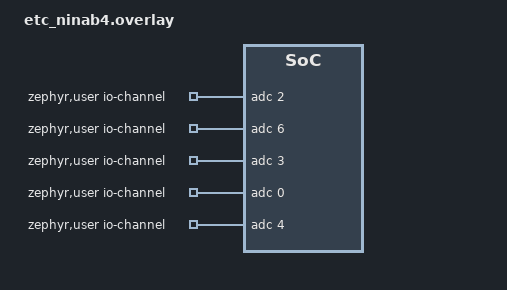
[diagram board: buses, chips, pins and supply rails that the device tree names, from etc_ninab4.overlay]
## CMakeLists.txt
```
cmake_minimum_required(VERSION 3.13.1)

set(CONFIG_APPLICATION_DEFINED_SYSCALL true)

find_package(Zephyr REQUIRED HINTS $ENV{ZEPHYR_BASE})

project(etc_core)

target_sources(app PRIVATE src/main.c)
zephyr_cc_option(-Wfatal-errors)

add_subdirectory(src/app)
include_directories(
  src/app
)
```

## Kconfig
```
menu "EXACT Core 2.0 Application"

config APP_VERSION
	string "Application version"
	default "v1.0.0"


config PUBLICATION_INTERVAL_SECONDS
	int "Interval in seconds that the sample will publish data"
	default 60

config CONNECTION_RETRY_TIMEOUT_SECONDS
	int "Number of seconds between each AWS IoT connection retry"
	default 30

endmenu

menu "Zephyr Kernel"
source "$ZEPHYR_BASE/Kconfig.zephyr"
endmenu

module = ETC_APP
module-str = ETC App
source "${ZEPHYR_BASE}/subsys/logging/Kconfig.template.log_config"
```

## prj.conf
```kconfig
# General config
CONFIG_APP_VERSION="v1.0.0"
CONFIG_NEWLIB_LIBC=y
CONFIG_NEWLIB_LIBC_FLOAT_PRINTF=y
CONFIG_ASSERT=y
CONFIG_REBOOT=y
CONFIG_RESET_ON_FATAL_ERROR=n
CONFIG_FPU=y
CONFIG_FW_INFO=y

# Network
CONFIG_NETWORKING=y
CONFIG_NET_NATIVE=n
CONFIG_NET_IPV4=y
CONFIG_NET_IPV6=n
CONFIG_NET_SOCKETS_SOCKOPT_TLS=y
CONFIG_NRF_MODEM_LIB=n

CONFIG_MODEM=y
CONFIG_MODEM_SIM_NUMBERS=y
CONFIG_MODEM_QUECTEL_BG95_M3=y
CONFIG_MODEM_LOG_LEVEL_DBG=y
CONFIG_DNS_RESOLVER=y
CONFIG_MODEM_CONTEXT_VERBOSE_DEBUG=y
CONFIG_MODEM_QUECTEL_BG95_M3_APN="v-internet"

CONFIG_LOG=y
CONFIG_ETC_APP_LOG_LEVEL_DBG=y
CONFIG_LOG_STRDUP_BUF_COUNT=4
CONFIG_LOG_STRDUP_MAX_STRING=32
CONFIG_AWS_FOTA_LOG_LEVEL_DBG=y
CONFIG_AWS_JOBS_LOG_LEVEL_DBG=y
CONFIG_AWS_IOT_LOG_LEVEL_DBG=y
CONFIG_DOWNLOAD_CLIENT_LOG_LEVEL_DBG=y
CONFIG_FOTA_DOWNLOAD_LOG_LEVEL_DBG=y
CONFIG_LOG_BUFFER_SIZE=4096
CONFIG_MQTT_LOG_LEVEL_DBG=n
CONFIG_NET_LOG=y

# Heap and stacks
CONFIG_HW_STACK_PROTECTION=y

# Settings, needed for Azure Device Provisioning Service
CONFIG_FLASH=y
CONFIG_FLASH_MAP=y
CONFIG_FCB=y
CONFIG_MPU_ALLOW_FLASH_WRITE=y

# AWS IoT library
CONFIG_AWS_IOT=y
CONFIG_AWS_IOT_CLIENT_ID_STATIC="ETC_Things"
CONFIG_AWS_IOT_BROKER_HOST_NAME="a2qrvfw4ehr8y1-ats.iot.ap-southeast-1.amazonaws.com"
CONFIG_AWS_IOT_PORT=8883
CONFIG_AWS_IOT_SEC_TAG=201
CONFIG_AWS_IOT_APP_SUBSCRIPTION_LIST_COUNT=1
CONFIG_AWS_IOT_TOPIC_UPDATE_DELTA_SUBSCRIBE=n
CONFIG_AWS_IOT_LAST_WILL=n
CONFIG_AWS_IOT_TOPIC_GET_ACCEPTED_SUBSCRIBE=n
CONFIG_AWS_IOT_TOPIC_GET_REJECTED_SUBSCRIBE=n
CONFIG_AWS_IOT_MQTT_RX_TX_BUFFER_LEN=2048
CONFIG_AWS_IOT_MQTT_PAYLOAD_BUFFER_LEN=2048
CONFIG_AWS_IOT_CONNECTION_POLL_THREAD=y

# MQTT - Maximum MQTT keepalive timeout specified by AWS IoT Core
CONFIG_MQTT_KEEPALIVE=60
CONFIG_MQTT_CLEAN_SESSION=y

# Heap and stacks
CONFIG_HEAP_MEM_POOL_SIZE=4096
CONFIG_MAIN_STACK_SIZE=4096
CONFIG_SYSTEM_WORKQUEUE_STACK_SIZE=2048

# AWS FOTA
CONFIG_AWS_FOTA=y

# MCUBOOT
CONFIG_BOOTLOADER_MCUBOOT=y
CONFIG_IMG_MANAGER=y
CONFIG_MCUBOOT_IMG_MANAGER=y
CONFIG_IMG_ERASE_PROGRESSIVELY=y

# Settings - Used to store real-time device configuration to flash.
CONFIG_SETTINGS=y
CONFIG_SETTINGS_FCB=y
CONFIG_FCB=y

# Non-volatile Storage
CONFIG_NVS=y

# FOTA
CONFIG_FOTA_DOWNLOAD=y
CONFIG_DFU_TARGET=y
CONFIG_DFU_TARGET_MCUBOOT=y
CONFIG_DFU_TARGET_STREAM_SAVE_PROGRESS=y

# Download client
CONFIG_DOWNLOAD_CLIENT=y
CONFIG_DOWNLOAD_CLIENT_STACK_SIZE=2048
CONFIG_DOWNLOAD_CLIENT_HTTP_FRAG_SIZE_1024=y
CONFIG_DOWNLOAD_CLIENT_BUF_SIZE=1024
CONFIG_DOWNLOAD_CLIENT_LOG_LEVEL_DBG=y
CONFIG_DOWNLOAD_CLIENT_TCP_SOCK_TIMEO_MS=60000

# Flash Settings
CONFIG_FLASH=y
CONFIG_FLASH_PAGE_LAYOUT=y
CONFIG_SOC_FLASH_NRF_UICR=y
CONFIG_FLASH_MAP=y
CONFIG_MPU_ALLOW_FLASH_WRITE=y
CONFIG_STREAM_FLASH_LOG_LEVEL_DBG=y
CONFIG_FLASH_JESD216_API=y
CONFIG_SPI=y
CONFIG_SPI_NOR=y


# CJSON
CONFIG_CJSON_LIB=y

CONFIG_ADC=y
CONFIG_ADC_MODULES_SAMPLE_RATE_MSEC=30000
CONFIG_ADC_MODULES=y
CONFIG_BQ24195=y
CONFIG_PCF85263=y
CONFIG_DS18B20=y
# GUI over LED
CONFIG_UI_MODULE=y
CONFIG_UI_LED_USE_PWM=y
CONFIG_UI_LOG_LEVEL_DBG=y

# CONFIG_USB_DEVICE_STACK=y
# CONFIG_USB_DEVICE_PRODUCT="ETC USB Shell"
# CONFIG_SHELL_BACKEND_SERIAL_CHECK_DTR=y
# CONFIG_UART_LINE_CTRL=y

# bluetooth
CONFIG_BT=y
CONFIG_BT_CTLR=y

CONFIG_I2C=y
CONFIG_I2C_1=y
CONFIG_I2C_INIT_PRIORITY=60
CONFIG_SENSOR=y
CONFIG_SENSOR_INIT_PRIORITY=90
```

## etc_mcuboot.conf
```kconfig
CONFIG_BOOT_SIGNATURE_TYPE_RSA=y
CONFIG_BOOT_SIGNATURE_KEY_FILE="root-rsa-2048.pem"
CONFIG_MCUBOOT_LOG_LEVEL_DBG=y

CONFIG_MULTITHREADING=y
CONFIG_BOOT_MAX_IMG_SECTORS=512

CONFIG_FLASH=y
CONFIG_FLASH_JESD216_API=y
CONFIG_SPI=y
CONFIG_SPI_NOR=y
CONFIG_SPI_NOR_FLASH_LAYOUT_PAGE_SIZE=4096

CONFIG_PARTITION_MANAGER_ENABLED=y
CONFIG_FLASH_MAP_CUSTOM=y

CONFIG_PM_EXTERNAL_FLASH_MCUBOOT_SECONDARY=y
CONFIG_PM_PARTITION_SIZE_MCUBOOT=0x10000
```

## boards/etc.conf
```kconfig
# Network
CONFIG_NETWORKING=y
CONFIG_NET_NATIVE=n
CONFIG_NET_IPV4=y
CONFIG_NET_IPV6=n

CONFIG_MODEM=y
CONFIG_MODEM_QUECTEL_BG95_M3=y
CONFIG_MODEM_LOG_LEVEL_DBG=y
CONFIG_MODEM_CONTEXT_VERBOSE_DEBUG=y
CONFIG_MODEM_QUECTEL_BG95_M3_APN="v-internet"

CONFIG_LOG=y
CONFIG_ETC_APP_LOG_LEVEL_DBG=y
CONFIG_AWS_FOTA_LOG_LEVEL_DBG=y
CONFIG_AWS_JOBS_LOG_LEVEL_DBG=y
CONFIG_AWS_IOT_LOG_LEVEL_DBG=y
CONFIG_DOWNLOAD_CLIENT_LOG_LEVEL_DBG=y
CONFIG_FOTA_DOWNLOAD_LOG_LEVEL_DBG=y
CONFIG_LOG_BUFFER_SIZE=4096
CONFIG_MQTT_LOG_LEVEL_DBG=n
CONFIG_NET_LOG=y

# AWS IoT library
CONFIG_AWS_IOT=y
CONFIG_AWS_IOT_CLIENT_ID_STATIC="ETC_Things"
CONFIG_AWS_IOT_BROKER_HOST_NAME="a2qrvfw4ehr8y1-ats.iot.ap-southeast-1.amazonaws.com"
CONFIG_AWS_IOT_PORT=8883
CONFIG_AWS_IOT_SEC_TAG=201
CONFIG_AWS_IOT_APP_SUBSCRIPTION_LIST_COUNT=1
CONFIG_AWS_IOT_TOPIC_UPDATE_DELTA_SUBSCRIBE=n
CONFIG_AWS_IOT_LAST_WILL=n
CONFIG_AWS_IOT_TOPIC_GET_ACCEPTED_SUBSCRIBE=n
CONFIG_AWS_IOT_TOPIC_GET_REJECTED_SUBSCRIBE=n
CONFIG_AWS_IOT_MQTT_RX_TX_BUFFER_LEN=2048
CONFIG_AWS_IOT_MQTT_PAYLOAD_BUFFER_LEN=2048
CONFIG_AWS_IOT_CONNECTION_POLL_THREAD=y

# MQTT - Maximum MQTT keepalive timeout specified by AWS IoT Core
CONFIG_MQTT_KEEPALIVE=60
CONFIG_MQTT_CLEAN_SESSION=y

# Heap and stacks
CONFIG_HEAP_MEM_POOL_SIZE=4096
CONFIG_MAIN_STACK_SIZE=4096
CONFIG_SYSTEM_WORKQUEUE_STACK_SIZE=2048

# AWS FOTA
CONFIG_AWS_FOTA=y

# MCUBOOT
CONFIG_BOOTLOADER_MCUBOOT=y
CONFIG_IMG_MANAGER=y
CONFIG_MCUBOOT_IMG_MANAGER=y
CONFIG_IMG_ERASE_PROGRESSIVELY=y

# Settings - Used to store real-time device configuration to flash.
CONFIG_SETTINGS=y
CONFIG_SETTINGS_FCB=y
CONFIG_FCB=y

# Non-volatile Storage
CONFIG_NVS=y

# FOTA
CONFIG_FOTA_DOWNLOAD=y
CONFIG_DFU_TARGET=y
CONFIG_DFU_TARGET_MCUBOOT=y
CONFIG_DFU_TARGET_STREAM_SAVE_PROGRESS=y

# Download client
CONFIG_DOWNLOAD_CLIENT=y
CONFIG_DOWNLOAD_CLIENT_STACK_SIZE=2048
CONFIG_DOWNLOAD_CLIENT_HTTP_FRAG_SIZE_1024=y
CONFIG_DOWNLOAD_CLIENT_BUF_SIZE=1024
CONFIG_DOWNLOAD_CLIENT_LOG_LEVEL_DBG=y
CONFIG_DOWNLOAD_CLIENT_TCP_SOCK_TIMEO_MS=60000

# Disable boot banner. printk outputs get dropped w/ usbcdc
CONFIG_BOOT_BANNER=n

# # Enable mcumgr.
# CONFIG_MCUMGR=y

# # Enable most core commands.
# CONFIG_MCUMGR_CMD_IMG_MGMT=y
# CONFIG_MCUMGR_CMD_OS_MGMT=y
# CONFIG_MCUMGR_CMD_STAT_MGMT=y

# # enable storage erase for mcumgr (needed for OTA for BLE)
# CONFIG_MCUMGR_GRP_ZEPHYR_BASIC=y
# CONFIG_MCUMGR_GRP_BASIC_CMD_STORAGE_ERASE=y

# # Enable the Bluetooth (unauthenticated) and shell mcumgr transports.
# CONFIG_MCUMGR_SMP_BT=y
# CONFIG_MCUMGR_SMP_BT_AUTHEN=n
# # Enable file system commands
# CONFIG_MCUMGR_CMD_FS_MGMT=y

# CJSON
CONFIG_CJSON_LIB=y

CONFIG_ADC=y
CONFIG_ADC_MODULES_SAMPLE_RATE_MSEC=30000
CONFIG_ADC_MODULES=y
CONFIG_BQ24195=y
CONFIG_PCF85263=y
CONFIG_DS18B20=y

# GUI over LED
CONFIG_UI_MODULE=y
CONFIG_UI_LED_USE_PWM=y
CONFIG_UI_LOG_LEVEL_DBG=y

# Bluetooth
CONFIG_BT=y
CONFIG_BT_CTLR=y
```

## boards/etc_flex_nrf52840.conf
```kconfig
# Network
CONFIG_NETWORKING=y
CONFIG_NET_NATIVE=n
CONFIG_NET_IPV4=y
CONFIG_NET_IPV6=n

CONFIG_MODEM=y
CONFIG_MODEM_QUECTEL_BG95_M3=y
CONFIG_MODEM_LOG_LEVEL_DBG=y
CONFIG_MODEM_CONTEXT_VERBOSE_DEBUG=y

CONFIG_LOG=y
CONFIG_ETC_APP_LOG_LEVEL_DBG=y
CONFIG_AWS_FOTA_LOG_LEVEL_DBG=y
CONFIG_AWS_JOBS_LOG_LEVEL_DBG=y
CONFIG_AWS_IOT_LOG_LEVEL_DBG=y
CONFIG_DOWNLOAD_CLIENT_LOG_LEVEL_DBG=y
CONFIG_FOTA_DOWNLOAD_LOG_LEVEL_DBG=y
CONFIG_LOG_BUFFER_SIZE=4096
CONFIG_MQTT_LOG_LEVEL_DBG=n
CONFIG_NET_LOG=y

# AWS IoT library
CONFIG_AWS_IOT=y
CONFIG_AWS_IOT_CLIENT_ID_STATIC="ETC_Things"
CONFIG_AWS_IOT_BROKER_HOST_NAME="a2qrvfw4ehr8y1-ats.iot.ap-southeast-1.amazonaws.com"
CONFIG_AWS_IOT_PORT=8883
CONFIG_AWS_IOT_SEC_TAG=201
CONFIG_AWS_IOT_APP_SUBSCRIPTION_LIST_COUNT=1
CONFIG_AWS_IOT_TOPIC_UPDATE_DELTA_SUBSCRIBE=n
CONFIG_AWS_IOT_LAST_WILL=n
CONFIG_AWS_IOT_TOPIC_GET_ACCEPTED_SUBSCRIBE=n
CONFIG_AWS_IOT_TOPIC_GET_REJECTED_SUBSCRIBE=n
CONFIG_AWS_IOT_MQTT_RX_TX_BUFFER_LEN=2048
CONFIG_AWS_IOT_MQTT_PAYLOAD_BUFFER_LEN=2048
CONFIG_AWS_IOT_CONNECTION_POLL_THREAD=y

# MQTT - Maximum MQTT keepalive timeout specified by AWS IoT Core
CONFIG_MQTT_KEEPALIVE=60
CONFIG_MQTT_CLEAN_SESSION=y

# Heap and stacks
CONFIG_HEAP_MEM_POOL_SIZE=4096
CONFIG_MAIN_STACK_SIZE=4096
CONFIG_SYSTEM_WORKQUEUE_STACK_SIZE=2048

# AWS FOTA
CONFIG_AWS_FOTA=y

# MCUBOOT
CONFIG_BOOTLOADER_MCUBOOT=y
CONFIG_IMG_MANAGER=y
CONFIG_MCUBOOT_IMG_MANAGER=y
CONFIG_IMG_ERASE_PROGRESSIVELY=y

# Settings - Used to store real-time device configuration to flash.
CONFIG_SETTINGS=y
CONFIG_SETTINGS_FCB=y
CONFIG_FCB=y

# Non-volatile Storage
CONFIG_NVS=y

# FOTA
CONFIG_FOTA_DOWNLOAD=y
CONFIG_DFU_TARGET=y
CONFIG_DFU_TARGET_MCUBOOT=y
CONFIG_DFU_TARGET_STREAM_SAVE_PROGRESS=y

# Download client
CONFIG_DOWNLOAD_CLIENT=y
CONFIG_DOWNLOAD_CLIENT_STACK_SIZE=2048
CONFIG_DOWNLOAD_CLIENT_HTTP_FRAG_SIZE_1024=y
CONFIG_DOWNLOAD_CLIENT_BUF_SIZE=1024
CONFIG_DOWNLOAD_CLIENT_TCP_SOCK_TIMEO_MS=60000

# Enable the LittleFS file system.
CONFIG_FILE_SYSTEM=y
CONFIG_FILE_SYSTEM_LITTLEFS=y

# Enable statistics and statistic names.
CONFIG_STATS=y
CONFIG_STATS_NAMES=y

# Disable boot banner. printk outputs get dropped w/ usbcdc
CONFIG_BOOT_BANNER=n

# Enable mcumgr.
CONFIG_MCUMGR=y

# Enable most core commands.
CONFIG_MCUMGR_CMD_IMG_MGMT=y
CONFIG_MCUMGR_CMD_OS_MGMT=y
CONFIG_MCUMGR_CMD_STAT_MGMT=y

# enable storage erase for mcumgr (needed for OTA for BLE)
CONFIG_MCUMGR_GRP_ZEPHYR_BASIC=y
CONFIG_MCUMGR_GRP_BASIC_CMD_STORAGE_ERASE=y

# Enable the Bluetooth (unauthenticated) and shell mcumgr transports.
CONFIG_MCUMGR_SMP_BT=y
CONFIG_MCUMGR_SMP_BT_AUTHEN=n
# Enable file system commands
CONFIG_MCUMGR_CMD_FS_MGMT=y

# CJSON
CONFIG_CJSON_LIB=y

CONFIG_ADC=y
CONFIG_ADC_MODULES_SAMPLE_RATE_MSEC=30000
CONFIG_ADC_MODULES=y
CONFIG_BQ24195=y
CONFIG_PCF85263=y
CONFIG_DS18B20_TIMER=y

# GUI over LED
CONFIG_UI_MODULE=y
CONFIG_UI_LED_USE_PWM=y
CONFIG_UI_LOG_LEVEL_DBG=y

# Bluetooth
CONFIG_BT=y
CONFIG_BT_CTLR=y

# # Partition Manager
CONFIG_PM_PARTITION_SIZE_LITTLEFS=0x180000
CONFIG_PM_PARTITION_REGION_LITTLEFS_EXTERNAL=y
```

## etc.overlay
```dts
/ {
	chosen {
		zephyr,shell-uart = &cdc_acm_uart0;
		zephyr,console = &cdc_acm_uart0;
		nordic,pm-ext-flash = &mx25r1635;
	};
};

&zephyr_udc0 {
	cdc_acm_uart0: cdc_acm_uart0 {
		compatible = "zephyr,cdc-acm-uart";
		label = "CDC_ACM_0";
	};
};

/* A7 = P0.31 = AIN7 - ADC_AMB */ 
/* A3 = P0.5  = AIN3 - ADC_BATT*/
/* A2 = P0.4 = AIN2 - ADC_TH*/
/ {
	zephyr,user {
		/* adjust channel number according to pinmux in board.dts */
		io-channels = <&adc 7>, <&adc 3>, <&adc 2>;
	};
};

/delete-node/ &boot_partition;
/delete-node/ &slot0_partition;
/delete-node/ &slot1_partition;
/delete-node/ &storage_partition;

&flash0 {
	partitions {
		boot_partition: partition@0 {
			label = "mcuboot";
			reg = <0x00000000 0x00010000>;
		};
		slot0_partition: partition@10000 {
			label = "image-0";
			reg = <0x00010000 0x00070000>;
		};
	};
};

&mx25r1635 {
	partitions {
		compatible = "fixed-partitions";
		#address-cells = <1>;
		#size-cells = <1>;

		slot1_partition: partition@0 {
			label = "image-1";
			reg = <0x00000000 0x00060000>;
		};
		etc_partition: partition@60000 {
			label = "etc-storage";
			reg = <0x00060000 0x00190000>;
		};
		storage_partition: partition@1F0000 {
			label = "storage";
			reg = <0x001F0000 0x00010000>;
		};
	};
};
```

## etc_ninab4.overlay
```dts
/ {
	chosen {
		nordic,pm-ext-flash = &mx25l6433;
	};
};

/* A0 = P0.04 = AIN2 */
/* A1 = P0.30 = AIN6 */
/* A2 = P0.5  = AIN3 */
/* A3 = P0.2  = AIN0 */
/* A4 = P0.28 = AIN4 */
/ {
	zephyr,user {
		/* adjust channel number according to pinmux in board.dts */
		io-channels = <&adc 2>, <&adc 6>, <&adc 3>, <&adc 0>, <&adc 4>;
	};
};
	
/delete-node/ &boot_partition;
/delete-node/ &slot0_partition;
/delete-node/ &slot1_partition;
/delete-node/ &scratch_partition;
/delete-node/ &storage_partition;

&flash0 {
	partitions {
		boot_partition: partition@0 {
			label = "mcuboot";
			reg = <0x00000000 0x00010000>;
		};
		slot0_partition: partition@10000 {
			label = "image-0";
			reg = <0x00010000 0x00070000>;
		};
	};
};

&mx25l6433 {
	partitions {
		compatible = "fixed-partitions";
		#address-cells = <1>;
		#size-cells = <1>;

		slot1_partition: partition@0 {
			label = "image-1";
			reg = <0x00000000 0x00060000>;
		};
		
		storage_partition: partition@60000 {
			label = "storage";
			reg = <0x00060000 0x00100000>;
		};
	};
};
```

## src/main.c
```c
#include <zephyr/kernel.h>
#include <stdio.h>
#include <stdlib.h>
#include "pcf85263a.h"
#include "bq24195.h"
#include "adc.h"
#include "ui.h"
#include "etc_setting.h"
#include "etc_app.h"

#include <zephyr/logging/log.h>
LOG_MODULE_REGISTER(main, CONFIG_ETC_APP_LOG_LEVEL);

static void app_driver_init(void) {
	ui_init();
	ui_led_set_pattern(UI_LED_ERROR_UNKNOWN);
	adc_init();
	pcf85263a_init("I2C_0");
	bq24195_init();
}

void main(void)
{
	app_driver_init();
	etc_setting_init();
	etc_app_init();

	for (;;) {
		k_cpu_idle();
#if CONFIG_LOG
		k_sleep(K_SECONDS(1));
#endif	
	}
}
```
